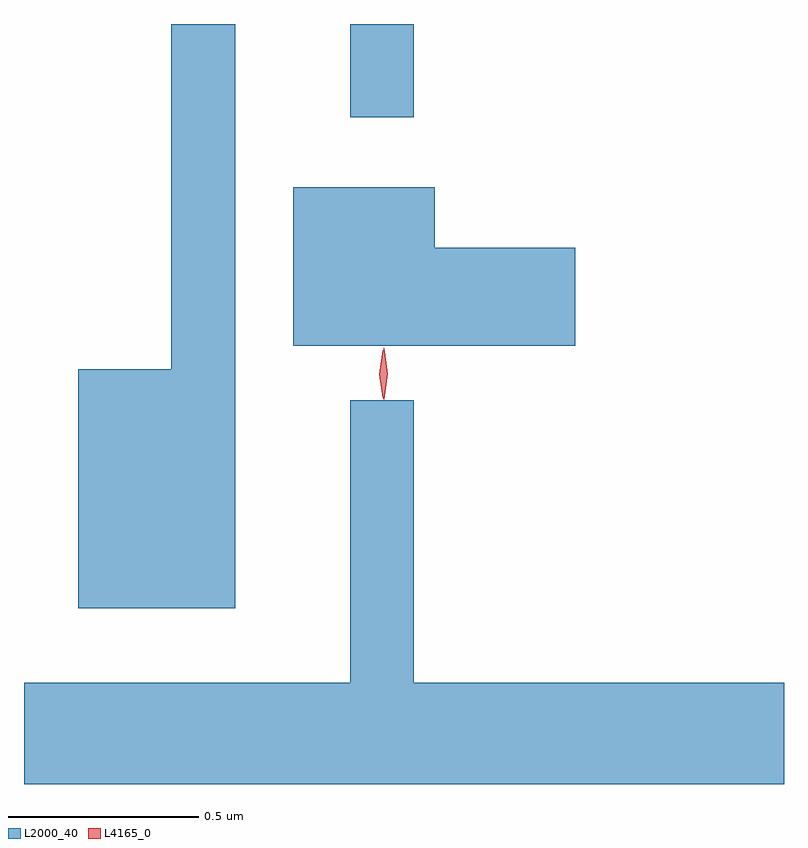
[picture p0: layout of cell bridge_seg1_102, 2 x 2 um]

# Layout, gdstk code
import gdstk
lib = gdstk.Library(unit=1e-6, precision=1e-09)
def R(c, l, rs):  # rectangles x0, y0, x1, y1
    for r in rs: c.add(gdstk.rectangle(r[:2], r[2:], *l))
def P(c, l, *ps):  # polygons
    for p in ps: c.add(gdstk.Polygon(p, *l))
L2000_40 = (2000, 40)
L4165_0 = (4165, 0)

bridge_seg1_102 = lib.new_cell('bridge_seg1_102')
R(bridge_seg1_102, L2000_40, [(1192.441,872.473,1192.609,872.718)])
P(bridge_seg1_102, L2000_40, [(1192.139,872.718),(1191.971,872.718),(1191.971,871.809),(1191.726,871.809),(1191.726,871.181),(1192.139,871.181)],
  [(1193.034,872.129),(1192.664,872.129),(1192.664,872.289),(1192.291,872.289),(1192.291,871.871),(1193.034,871.871)],
  [(1193.583,870.984),(1192.609,870.984),(1192.609,871.728),(1192.441,871.728),(1192.441,870.984),(1191.583,870.984),(1191.583,870.718),(1193.583,870.718)])
P(bridge_seg1_102, L4165_0, [(1192.53,871.73),(1192.53,871.73),(1192.52,871.798),(1192.53,871.865),(1192.53,871.866),(1192.531,871.865),(1192.54,871.798),(1192.531,871.73)],
  [(1192.528,871.733),(1192.527,871.734),(1192.518,871.796),(1192.527,871.859),(1192.528,871.86),(1192.528,871.859),(1192.538,871.796),(1192.528,871.734)])

lib.write_gds('bridge_seg1_102.gds')
